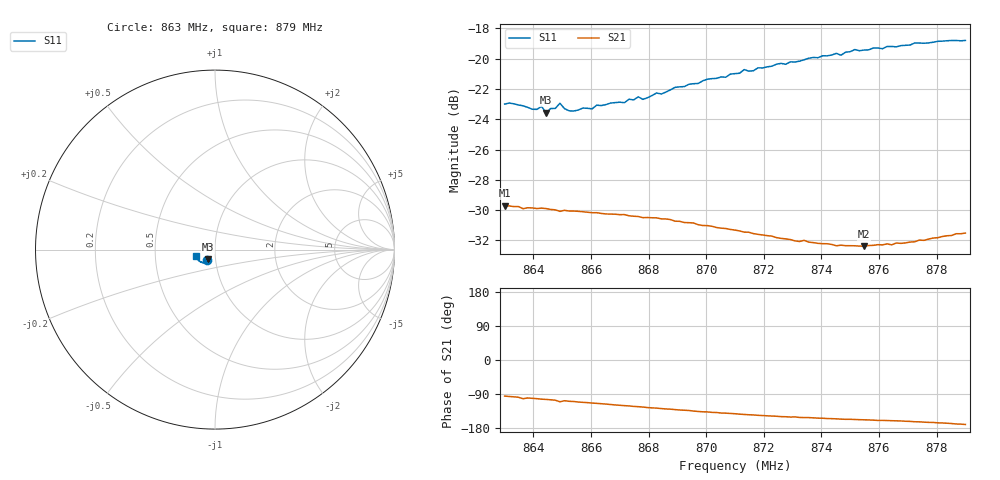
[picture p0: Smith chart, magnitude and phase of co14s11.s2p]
# HZ S RI R 50
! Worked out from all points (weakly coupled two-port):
!   101 points, 863 MHz to 879 MHz, reference 50 ohm
!   highest |S21| = -29.69 dB at 863 MHz (marker M1); lowest = -32.4 dB at 875.48 MHz (marker M2)
!   lowest |S11| = -23.6 dB at 864.44 MHz (marker M3), VSWR 1.14, Z = 46.1 - j5.03 ohm
!   |S11| at or under -10 dB: start of sweep to end of sweep
!   S12 and S22 are empty: the file has one direction only
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8.63e8  -0.0442 -0.0553  -0.00298 -0.0326  0 0  0 0
8.6396e8  -0.0406 -0.0547  -0.00622 -0.0316  0 0  0 0
8.6428e8  -0.0394 -0.0573  -0.00739 -0.0313  0 0  0 0
8.6444e8  -0.0381 -0.0543  -0.00775 -0.0311  0 0  0 0
8.6492e8  -0.0428 -0.057  -0.0108 -0.0294  0 0  0 0
8.6524e8  -0.0369 -0.0563  -0.0102 -0.0297  0 0  0 0
8.6572e8  -0.0364 -0.0583  -0.0116 -0.029  0 0  0 0
8.6604e8  -0.0343 -0.0591  -0.0124 -0.0284  0 0  0 0
8.662e8  -0.0358 -0.0604  -0.0128 -0.0282  0 0  0 0
8.6716e8  -0.0344 -0.0628  -0.0155 -0.0264  0 0  0 0
8.6764e8  -0.037 -0.065  -0.0165 -0.0252  0 0  0 0
8.678e8  -0.036 -0.064  -0.0168 -0.0247  0 0  0 0
8.6828e8  -0.0371 -0.0676  -0.0179 -0.0238  0 0  0 0
8.6844e8  -0.0378 -0.0665  -0.0183 -0.0233  0 0  0 0
8.6892e8  -0.0399 -0.0698  -0.019 -0.022  0 0  0 0
8.71e8  -0.0505 -0.0736  -0.0214 -0.0168  0 0  0 0
8.7132e8  -0.0527 -0.0755  -0.0216 -0.0158  0 0  0 0
8.7164e8  -0.0539 -0.0737  -0.0217 -0.0152  0 0  0 0
8.7372e8  -0.0701 -0.0726  -0.022 -0.0114  0 0  0 0
8.7548e8  -0.0841 -0.0658  -0.0223 -0.0091  0 0  0 0
8.7644e8  -0.092 -0.0598  -0.0229 -0.00824  0 0  0 0
8.79e8  -0.1083 -0.0384  -0.0262 -0.00457  0 0  0 0
